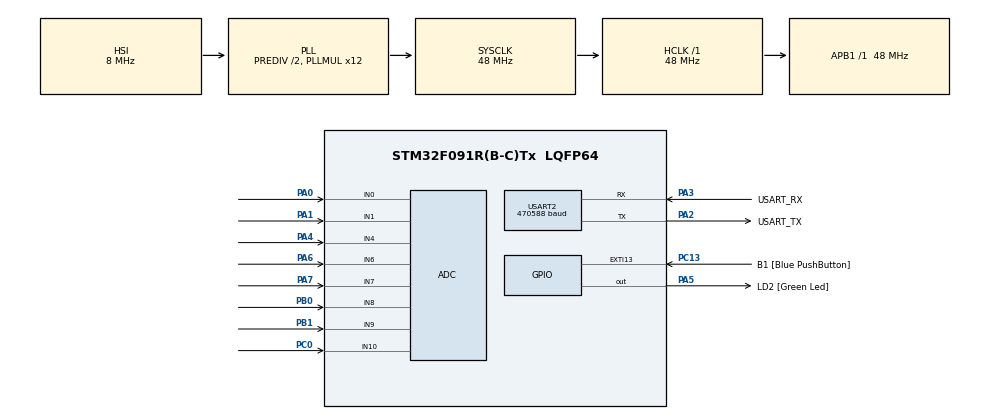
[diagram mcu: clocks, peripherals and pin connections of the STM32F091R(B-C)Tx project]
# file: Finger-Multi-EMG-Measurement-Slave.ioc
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ADC.ContinuousConvMode=ENABLE
ADC.DMAContinuousRequests=ENABLE
ADC.SamplingTime=ADC_SAMPLETIME_239CYCLES_5
Dma.ADC.0.Direction=DMA_PERIPH_TO_MEMORY
Dma.ADC.0.Instance=DMA1_Channel1
Dma.ADC.0.MemDataAlignment=DMA_MDATAALIGN_HALFWORD
Dma.ADC.0.MemInc=DMA_MINC_ENABLE
Dma.ADC.0.Mode=DMA_CIRCULAR
Dma.ADC.0.PeriphDataAlignment=DMA_PDATAALIGN_HALFWORD
Dma.ADC.0.PeriphInc=DMA_PINC_DISABLE
Dma.ADC.0.Priority=DMA_PRIORITY_LOW
Dma.Request0=ADC
Mcu.Family=STM32F0
Mcu.Name=STM32F091R(B-C)Tx
Mcu.Package=LQFP64
NVIC.DMA1_Ch1_IRQn=true\:0\:0\:false\:false\:true\:false\:true\:true
PA0.Mode=IN0
PA0.Signal=ADC_IN0
PA1.Mode=IN1
PA1.Signal=ADC_IN1
PA13.GPIO_Label=TMS
PA13.Mode=Serial_Wire
PA13.Signal=SYS_SWDIO
PA14.GPIO_Label=TCK
PA14.Mode=Serial_Wire
PA14.Signal=SYS_SWCLK
PA2.GPIO_Label=USART_TX
PA2.GPIO_Mode=GPIO_MODE_AF_PP
PA2.GPIO_PuPd=GPIO_NOPULL
PA2.GPIO_Speed=GPIO_SPEED_FREQ_LOW
PA2.Mode=Asynchronous
PA2.Signal=USART2_TX
PA3.GPIO_Label=USART_RX
PA3.GPIO_Mode=GPIO_MODE_AF_PP
PA3.GPIO_PuPd=GPIO_NOPULL
PA3.GPIO_Speed=GPIO_SPEED_FREQ_LOW
PA3.Mode=Asynchronous
PA3.Signal=USART2_RX
PA4.Mode=IN4
PA4.Signal=ADC_IN4
PA5.GPIO_Label=LD2 [Green Led]
PA5.GPIO_Mode=GPIO_MODE_OUTPUT_PP
PA5.GPIO_PuPd=GPIO_NOPULL
PA5.GPIO_Speed=GPIO_SPEED_FREQ_LOW
PA5.Signal=GPIO_Output
PA6.Mode=IN6
PA6.Signal=ADC_IN6
PA7.Mode=IN7
PA7.Signal=ADC_IN7
PB0.Mode=IN8
PB0.Signal=ADC_IN8
PB1.Mode=IN9
PB1.Signal=ADC_IN9
PC0.Mode=IN10
PC0.Signal=ADC_IN10
PC13.GPIO_Label=B1 [Blue PushButton]
PC13.GPIO_ModeDefaultEXTI=GPIO_MODE_IT_FALLING
PC13.Signal=GPXTI13
PC14OSC32_IN.Mode=LSE-External-Oscillator
PC14OSC32_IN.Signal=RCC_OSC32_IN
PC15OSC32_OUT.Mode=LSE-External-Oscillator
PC15OSC32_OUT.Signal=RCC_OSC32_OUT
PF0-OSC_IN.Mode=HSE-External-Clock-Source
PF0-OSC_IN.Signal=RCC_OSC_IN
PF1-OSC_OUT.Signal=RCC_OSC_OUT
ProjectManager.HeapSize=0x200
ProjectManager.StackSize=0x400
ProjectManager.TargetToolchain=STM32CubeIDE
RCC.AHBFreq_Value=48000000
RCC.APB1Freq_Value=48000000
RCC.APB1TimFreq_Value=48000000
RCC.FLatency-AdvancedSettings=FLASH_LATENCY_1
RCC.HCLKFreq_Value=48000000
RCC.PLLDivider=RCC_PREDIV_DIV2
RCC.PLLMUL=RCC_PLL_MUL12
RCC.PREFETCH_ENABLE-AdvancedSettings=1
RCC.SYSCLKFreq_VALUE=48000000
RCC.SYSCLKSource=RCC_SYSCLKSOURCE_PLLCLK
USART2.BaudRate=470588
USART2.VirtualMode=VM_ASYNC
USART2.VirtualMode-Asynchronous=VM_ASYNC
board=NUCLEO-F091RC

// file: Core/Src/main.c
/* USER CODE BEGIN Header */
/**
 ******************************************************************************
 * @file           : main.c
 * @brief          : Main program body
 ******************************************************************************
 * @attention
 *
 * Copyright (c) 2022 STMicroelectronics.
 * All rights reserved.
 *
 * This software is licensed under terms that can be found in the LICENSE file
 * in the root directory of this software component.
 * If no LICENSE file comes with this software, it is provided AS-IS.
 *
 ******************************************************************************
 */
/* USER CODE END Header */
#include "main.h"

/* USER CODE BEGIN PD */
#define SENSOR_NUM 8
/* USER CODE END PD */

ADC_HandleTypeDef hadc;
DMA_HandleTypeDef hdma_adc;

UART_HandleTypeDef huart2;

void SystemClock_Config(void);
static void MX_GPIO_Init(void);
static void MX_DMA_Init(void);
static void MX_USART2_UART_Init(void);
static void MX_ADC_Init(void);

int main(void)
{
  /* USER CODE BEGIN 1 */

  // 筋電位センサのデータ格納用
  __IO uint16_t sensor_raw_data[SENSOR_NUM];
  uint16_t sensor_data[SENSOR_NUM];
  uint16_t sensor_data_0, sensor_data_1, sensor_data_2, sensor_data_3, sensor_data_4, sensor_data_5, sensor_data_6, sensor_data_7;
  const int pickup2dec = 100;
  const int pickupParity = 0x00FF;
  int upper2dec = 0, lower2dec = 0; // センサ生値を二桁に分けて入れる
  int parity = 0;

  // USARTデータ送信用
  uint8_t sensor_send_data[20] = {}; //[h(0xFE), データ個数, x.xxx, ..., パリティ, f] -> length = 1 + 1 + 2 * 8 + 1 + 1 = 20
  sensor_send_data[0] = 0xFE;        // ヘッダ
  sensor_send_data[1] = SENSOR_NUM;  // データ個数
  sensor_send_data[19] = 0xFF;       // フッタ
  uint32_t start_code = 0;

  /* USER CODE END 1 */

  /* MCU Configuration--------------------------------------------------------*/

  /* Reset of all peripherals, Initializes the Flash interface and the Systick. */
  HAL_Init();

  /* Configure the system clock */
  SystemClock_Config();

  /* Initialize all configured peripherals */
  MX_GPIO_Init();
  MX_DMA_Init();
  MX_USART2_UART_Init();
  MX_ADC_Init();
  /* USER CODE BEGIN 2 */

  // ADCのキャリブレーション
  if (HAL_ADCEx_Calibration_Start(&hadc) != HAL_OK)
  {
    Error_Handler();
  }

  // DMAを用いて8ポートまとめてADC
  if (HAL_ADC_Start_DMA(&hadc, (uint32_t *)sensor_raw_data, SENSOR_NUM) != HAL_OK)
  {
    Error_Handler();
  }

  // 受信側UARTプログラム待ち
  while (1)
  {
    HAL_UART_Receive(&huart2, &start_code, sizeof(start_code), 1);
    if (start_code == 0xFF)
      break;
  }

  /* USER CODE END 2 */

  /* Infinite loop */
  /* USER CODE BEGIN WHILE */
  while (1)
  {
    // 値更新用、なくても動くかも
    sensor_data_0 = sensor_raw_data[0];
    sensor_data_1 = sensor_raw_data[1];
    sensor_data_2 = sensor_raw_data[2];
    sensor_data_3 = sensor_raw_data[3];
    sensor_data_4 = sensor_raw_data[4];
    sensor_data_5 = sensor_raw_data[5];
    sensor_data_6 = sensor_raw_data[6];
    sensor_data_7 = sensor_raw_data[7];

    // パリティをリセット
    parity = 0;

    // AD変換した値を上位2桁・下位2桁に分けて送信する
    // パリティは2桁ずつに分けた数字を全て足し合せ、0x00FFとANDをとったものとした
    for (int i = 0; i < SENSOR_NUM; i++)
    {
      upper2dec = sensor_raw_data[i] / pickup2dec;
      lower2dec = sensor_raw_data[i] % pickup2dec;
      sensor_send_data[(2 * i) + 2] = upper2dec;
      sensor_send_data[(2 * i) + 3] = lower2dec;
      parity = parity + upper2dec + lower2dec;
    }
    sensor_send_data[18] = parity & pickupParity;

    // USART送信
    HAL_UART_Transmit(&huart2, &sensor_send_data, sizeof(sensor_send_data), 50);
    /* USER CODE END WHILE */

  }
}

void SystemClock_Config(void)
{
  RCC_OscInitTypeDef RCC_OscInitStruct = {0};
  RCC_ClkInitTypeDef RCC_ClkInitStruct = {0};
  RCC_PeriphCLKInitTypeDef PeriphClkInit = {0};

  /** Initializes the RCC Oscillators according to the specified parameters
   * in the RCC_OscInitTypeDef structure.
   */
  RCC_OscInitStruct.OscillatorType = RCC_OSCILLATORTYPE_HSI | RCC_OSCILLATORTYPE_HSI14;
  RCC_OscInitStruct.HSIState = RCC_HSI_ON;
  RCC_OscInitStruct.HSI14State = RCC_HSI14_ON;
  RCC_OscInitStruct.HSICalibrationValue = RCC_HSICALIBRATION_DEFAULT;
  RCC_OscInitStruct.HSI14CalibrationValue = 16;
  RCC_OscInitStruct.PLL.PLLState = RCC_PLL_ON;
  RCC_OscInitStruct.PLL.PLLSource = RCC_PLLSOURCE_HSI;
  RCC_OscInitStruct.PLL.PLLMUL = RCC_PLL_MUL12;
  RCC_OscInitStruct.PLL.PREDIV = RCC_PREDIV_DIV2;
  if (HAL_RCC_OscConfig(&RCC_OscInitStruct) != HAL_OK)
  {
    Error_Handler();
  }

  /** Initializes the CPU, AHB and APB buses clocks
   */
  RCC_ClkInitStruct.ClockType = RCC_CLOCKTYPE_HCLK | RCC_CLOCKTYPE_SYSCLK | RCC_CLOCKTYPE_PCLK1;
  RCC_ClkInitStruct.SYSCLKSource = RCC_SYSCLKSOURCE_PLLCLK;
  RCC_ClkInitStruct.AHBCLKDivider = RCC_SYSCLK_DIV1;
  RCC_ClkInitStruct.APB1CLKDivider = RCC_HCLK_DIV1;

  if (HAL_RCC_ClockConfig(&RCC_ClkInitStruct, FLASH_LATENCY_1) != HAL_OK)
  {
    Error_Handler();
  }
  PeriphClkInit.PeriphClockSelection = RCC_PERIPHCLK_USART2;
  PeriphClkInit.Usart2ClockSelection = RCC_USART2CLKSOURCE_PCLK1;
  if (HAL_RCCEx_PeriphCLKConfig(&PeriphClkInit) != HAL_OK)
  {
    Error_Handler();
  }
}

static void MX_ADC_Init(void)
{

  ADC_ChannelConfTypeDef sConfig = {0};

  /** Configure the global features of the ADC (Clock, Resolution, Data Alignment and number of conversion)
   */
  hadc.Instance = ADC1;
  hadc.Init.ClockPrescaler = ADC_CLOCK_ASYNC_DIV1;
  hadc.Init.Resolution = ADC_RESOLUTION_12B;
  hadc.Init.DataAlign = ADC_DATAALIGN_RIGHT;
  hadc.Init.ScanConvMode = ADC_SCAN_DIRECTION_FORWARD;
  hadc.Init.EOCSelection = ADC_EOC_SINGLE_CONV;
  hadc.Init.LowPowerAutoWait = DISABLE;
  hadc.Init.LowPowerAutoPowerOff = DISABLE;
  hadc.Init.ContinuousConvMode = ENABLE;
  hadc.Init.DiscontinuousConvMode = DISABLE;
  hadc.Init.ExternalTrigConv = ADC_SOFTWARE_START;
  hadc.Init.ExternalTrigConvEdge = ADC_EXTERNALTRIGCONVEDGE_NONE;
  hadc.Init.DMAContinuousRequests = ENABLE;
  hadc.Init.Overrun = ADC_OVR_DATA_PRESERVED;
  if (HAL_ADC_Init(&hadc) != HAL_OK)
  {
    Error_Handler();
  }

  /** Configure for the selected ADC regular channel to be converted.
   */
  sConfig.Channel = ADC_CHANNEL_0;
  sConfig.Rank = ADC_RANK_CHANNEL_NUMBER;
  sConfig.SamplingTime = ADC_SAMPLETIME_239CYCLES_5;
  if (HAL_ADC_ConfigChannel(&hadc, &sConfig) != HAL_OK)
  {
    Error_Handler();
  }

  /** Configure for the selected ADC regular channel to be converted.
   */
  sConfig.Channel = ADC_CHANNEL_1;
  if (HAL_ADC_ConfigChannel(&hadc, &sConfig) != HAL_OK)
  {
    Error_Handler();
  }

  /** Configure for the selected ADC regular channel to be converted.
   */
  sConfig.Channel = ADC_CHANNEL_4;
  if (HAL_ADC_ConfigChannel(&hadc, &sConfig) != HAL_OK)
  {
    Error_Handler();
  }

  /** Configure for the selected ADC regular channel to be converted.
   */
  sConfig.Channel = ADC_CHANNEL_6;
  if (HAL_ADC_ConfigChannel(&hadc, &sConfig) != HAL_OK)
  {
    Error_Handler();
  }

  /** Configure for the selected ADC regular channel to be converted.
   */
  sConfig.Channel = ADC_CHANNEL_7;
  if (HAL_ADC_ConfigChannel(&hadc, &sConfig) != HAL_OK)
  {
    Error_Handler();
  }

  /** Configure for the selected ADC regular channel to be converted.
   */
  sConfig.Channel = ADC_CHANNEL_8;
  if (HAL_ADC_ConfigChannel(&hadc, &sConfig) != HAL_OK)
  {
    Error_Handler();
  }

  /** Configure for the selected ADC regular channel to be converted.
   */
  sConfig.Channel = ADC_CHANNEL_9;
  if (HAL_ADC_ConfigChannel(&hadc, &sConfig) != HAL_OK)
  {
    Error_Handler();
  }

  /** Configure for the selected ADC regular channel to be converted.
   */
  sConfig.Channel = ADC_CHANNEL_10;
  if (HAL_ADC_ConfigChannel(&hadc, &sConfig) != HAL_OK)
  {
    Error_Handler();
  }
}

static void MX_USART2_UART_Init(void)
{

  huart2.Instance = USART2;
  huart2.Init.BaudRate = 470588;
  huart2.Init.WordLength = UART_WORDLENGTH_8B;
  huart2.Init.StopBits = UART_STOPBITS_1;
  huart2.Init.Parity = UART_PARITY_NONE;
  huart2.Init.Mode = UART_MODE_TX_RX;
  huart2.Init.HwFlowCtl = UART_HWCONTROL_NONE;
  huart2.Init.OverSampling = UART_OVERSAMPLING_16;
  huart2.Init.OneBitSampling = UART_ONE_BIT_SAMPLE_DISABLE;
  huart2.AdvancedInit.AdvFeatureInit = UART_ADVFEATURE_NO_INIT;
  if (HAL_UART_Init(&huart2) != HAL_OK)
  {
    Error_Handler();
  }
}

static void MX_DMA_Init(void)
{

  /* DMA controller clock enable */
  __HAL_RCC_DMA1_CLK_ENABLE();

  /* DMA interrupt init */
  /* DMA1_Ch1_IRQn interrupt configuration */
  HAL_NVIC_SetPriority(DMA1_Ch1_IRQn, 0, 0);
  HAL_NVIC_EnableIRQ(DMA1_Ch1_IRQn);
}

static void MX_GPIO_Init(void)
{
  GPIO_InitTypeDef GPIO_InitStruct = {0};

  /* GPIO Ports Clock Enable */
  __HAL_RCC_GPIOC_CLK_ENABLE();
  __HAL_RCC_GPIOF_CLK_ENABLE();
  __HAL_RCC_GPIOA_CLK_ENABLE();
  __HAL_RCC_GPIOB_CLK_ENABLE();

  /*Configure GPIO pin Output Level */
  HAL_GPIO_WritePin(LD2_GPIO_Port, LD2_Pin, GPIO_PIN_RESET);

  /*Configure GPIO pin : B1_Pin */
  GPIO_InitStruct.Pin = B1_Pin;
  GPIO_InitStruct.Mode = GPIO_MODE_IT_FALLING;
  GPIO_InitStruct.Pull = GPIO_NOPULL;
  HAL_GPIO_Init(B1_GPIO_Port, &GPIO_InitStruct);

  /*Configure GPIO pin : LD2_Pin */
  GPIO_InitStruct.Pin = LD2_Pin;
  GPIO_InitStruct.Mode = GPIO_MODE_OUTPUT_PP;
  GPIO_InitStruct.Pull = GPIO_NOPULL;
  GPIO_InitStruct.Speed = GPIO_SPEED_FREQ_LOW;
  HAL_GPIO_Init(LD2_GPIO_Port, &GPIO_InitStruct);
}

void Error_Handler(void)
{
  __disable_irq();
  while (1)
  {
  }
}
